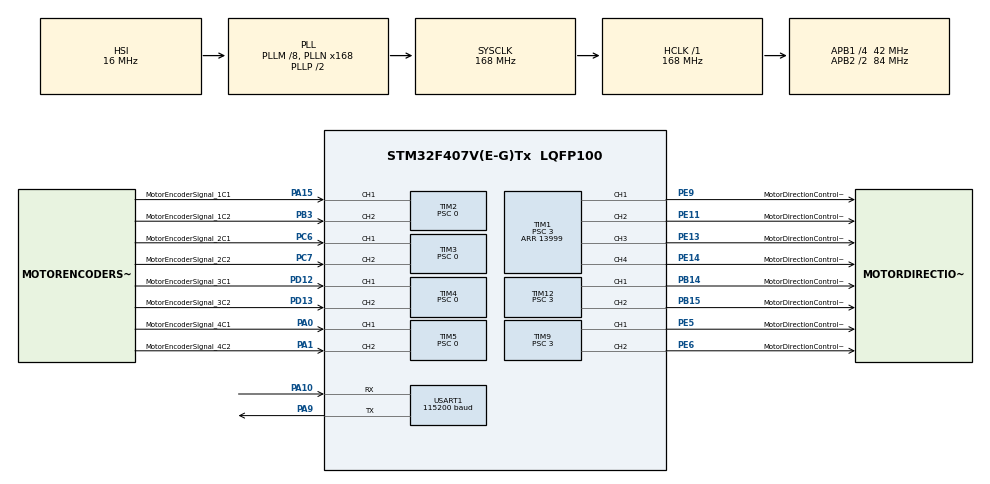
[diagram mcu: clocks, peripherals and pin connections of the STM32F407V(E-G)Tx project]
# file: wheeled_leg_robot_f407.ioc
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FREERTOS.Mutexes01=MotorPIDOutPulseMutex,Dynamic,NULL,Available;MotorStatusMutex,Dynamic,NULL,Available
FREERTOS.Tasks01=gpiotask,24,512,GPIO_Task,Default,NULL,Dynamic,NULL,NULL;MotorTask1,8,128,MotorSpeedTask,As external,&all_motors[0],Dynamic,NULL,NULL;MotorTask2,8,128,MotorSpeedTask,As external,&all_motors[1],Dynamic,NULL,NULL;MotorTask3,8,128,MotorSpeedTask,As external,&all_motors[2],Dynamic,NULL,NULL;MotorTask4,8,128,MotorSpeedTask,As external,&all_motors[3],Dynamic,NULL,NULL;Motor_PID_Task,8,128,Motor_PID_TaskFunc,As external,NULL,Dynamic,NULL,NULL
FREERTOS.configTOTAL_HEAP_SIZE=32768
Mcu.Family=STM32F4
Mcu.Name=STM32F407V(E-G)Tx
Mcu.Package=LQFP100
NVIC.PriorityGroup=NVIC_PRIORITYGROUP_4
NVIC.TIM8_TRG_COM_TIM14_IRQn=true\:15\:0\:false\:false\:true\:false\:false\:true\:true
NVIC.TimeBase=TIM8_TRG_COM_TIM14_IRQn
NVIC.TimeBaseIP=TIM14
NVIC.USART1_IRQn=true\:5\:0\:true\:false\:true\:true\:true\:true\:true
PA0-WKUP.GPIO_Label=MotorEncoderSignal_4C1
PA0-WKUP.GPIO_Speed=GPIO_SPEED_FREQ_VERY_HIGH
PA0-WKUP.Signal=S_TIM5_CH1
PA1.GPIO_Label=MotorEncoderSignal_4C2
PA1.GPIO_Speed=GPIO_SPEED_FREQ_VERY_HIGH
PA1.Signal=S_TIM5_CH2
PA10.GPIO_Speed=GPIO_SPEED_FREQ_VERY_HIGH
PA10.Mode=Asynchronous
PA10.Signal=USART1_RX
PA13.Mode=Serial_Wire
PA13.Signal=SYS_JTMS-SWDIO
PA14.Mode=Serial_Wire
PA14.Signal=SYS_JTCK-SWCLK
PA15.GPIO_Label=MotorEncoderSignal_1C1
PA15.GPIO_Speed=GPIO_SPEED_FREQ_VERY_HIGH
PA15.Signal=S_TIM2_CH1_ETR
PA9.GPIO_Speed=GPIO_SPEED_FREQ_VERY_HIGH
PA9.Mode=Asynchronous
PA9.Signal=USART1_TX
PB14.GPIO_Label=MotorDirectionControl_IO3_2
PB14.GPIO_Speed=GPIO_SPEED_FREQ_LOW
PB14.Signal=S_TIM12_CH1
PB15.GPIO_Label=MotorDirectionControl_IO4_2
PB15.GPIO_Speed=GPIO_SPEED_FREQ_LOW
PB15.Signal=S_TIM12_CH2
PB3.GPIO_Label=MotorEncoderSignal_1C2
PB3.GPIO_Speed=GPIO_SPEED_FREQ_VERY_HIGH
PB3.Signal=S_TIM2_CH2
PC6.GPIO_Label=MotorEncoderSignal_2C1
PC6.GPIO_Speed=GPIO_SPEED_FREQ_VERY_HIGH
PC6.Signal=S_TIM3_CH1
PC7.GPIO_Label=MotorEncoderSignal_2C2
PC7.GPIO_Speed=GPIO_SPEED_FREQ_VERY_HIGH
PC7.Signal=S_TIM3_CH2
PD12.GPIO_Label=MotorEncoderSignal_3C1
PD12.GPIO_Speed=GPIO_SPEED_FREQ_VERY_HIGH
PD12.Signal=S_TIM4_CH1
PD13.GPIO_Label=MotorEncoderSignal_3C2
PD13.GPIO_Speed=GPIO_SPEED_FREQ_VERY_HIGH
PD13.Signal=S_TIM4_CH2
PE11.GPIO_Label=MotorDirectionControl_IO2_1
PE11.GPIO_Speed=GPIO_SPEED_FREQ_LOW
PE11.Signal=S_TIM1_CH2
PE13.GPIO_Label=MotorDirectionControl_IO3_1
PE13.GPIO_Speed=GPIO_SPEED_FREQ_LOW
PE13.Signal=S_TIM1_CH3
PE14.GPIO_Label=MotorDirectionControl_IO4_1
PE14.GPIO_Speed=GPIO_SPEED_FREQ_LOW
PE14.Signal=S_TIM1_CH4
PE5.GPIO_Label=MotorDirectionControl_IO1_2
PE5.GPIO_Speed=GPIO_SPEED_FREQ_LOW
PE5.Signal=S_TIM9_CH1
PE6.GPIO_Label=MotorDirectionControl_IO2_2
PE6.GPIO_Speed=GPIO_SPEED_FREQ_LOW
PE6.Signal=S_TIM9_CH2
PE9.GPIO_Label=MotorDirectionControl_IO1_1
PE9.GPIO_Speed=GPIO_SPEED_FREQ_LOW
PE9.Signal=S_TIM1_CH1
PH0-OSC_IN.Mode=HSE-External-Oscillator
PH0-OSC_IN.Signal=RCC_OSC_IN
PH1-OSC_OUT.Mode=HSE-External-Oscillator
PH1-OSC_OUT.Signal=RCC_OSC_OUT
ProjectManager.HeapSize=0x200
ProjectManager.StackSize=0x400
ProjectManager.TargetToolchain=MDK-ARM V5
RCC.48MHZClocksFreq_Value=84000000
RCC.AHBFreq_Value=168000000
RCC.APB1CLKDivider=RCC_HCLK_DIV4
RCC.APB1Freq_Value=42000000
RCC.APB1TimFreq_Value=84000000
RCC.APB2CLKDivider=RCC_HCLK_DIV2
RCC.APB2Freq_Value=84000000
RCC.APB2TimFreq_Value=168000000
RCC.CortexFreq_Value=168000000
RCC.HCLKFreq_Value=168000000
RCC.HSE_VALUE=25000000
RCC.HSI_VALUE=16000000
RCC.LSE_VALUE=32768
RCC.PLLM=8
RCC.PLLN=168
RCC.SYSCLKFreq_VALUE=168000000
RCC.SYSCLKSource=RCC_SYSCLKSOURCE_PLLCLK
RCC.VCOOutputFreq_Value=336000000
SH.S_TIM12_CH1.0=TIM12_CH1,PWM Generation1 CH1
SH.S_TIM12_CH2.0=TIM12_CH2,PWM Generation2 CH2
SH.S_TIM1_CH1.0=TIM1_CH1,PWM Generation1 CH1
SH.S_TIM1_CH2.0=TIM1_CH2,PWM Generation2 CH2
SH.S_TIM1_CH3.0=TIM1_CH3,PWM Generation3 CH3
SH.S_TIM1_CH4.0=TIM1_CH4,PWM Generation4 CH4
SH.S_TIM2_CH1_ETR.0=TIM2_CH1,Encoder_Interface
SH.S_TIM2_CH2.0=TIM2_CH2,Encoder_Interface
SH.S_TIM3_CH1.0=TIM3_CH1,Encoder_Interface
SH.S_TIM3_CH2.0=TIM3_CH2,Encoder_Interface
SH.S_TIM4_CH1.0=TIM4_CH1,Encoder_Interface
SH.S_TIM4_CH2.0=TIM4_CH2,Encoder_Interface
SH.S_TIM5_CH1.0=TIM5_CH1,Encoder_Interface
SH.S_TIM5_CH2.0=TIM5_CH2,Encoder_Interface
SH.S_TIM9_CH1.0=TIM9_CH1,PWM Generation1 CH1
SH.S_TIM9_CH2.0=TIM9_CH2,PWM Generation2 CH2
TIM1.Channel-PWM\ Generation1\ CH1=TIM_CHANNEL_1
TIM1.Channel-PWM\ Generation2\ CH2=TIM_CHANNEL_2
TIM1.Channel-PWM\ Generation3\ CH3=TIM_CHANNEL_3
TIM1.Channel-PWM\ Generation4\ CH4=TIM_CHANNEL_4
TIM1.Period=13999
TIM1.Prescaler=3
TIM2.EncoderMode=TIM_ENCODERMODE_TI12
TIM2.Period=65535
TIM2.Prescaler=0
TIM3.EncoderMode=TIM_ENCODERMODE_TI12
TIM3.Period=65535
TIM3.Prescaler=0
TIM4.EncoderMode=TIM_ENCODERMODE_TI12
TIM4.Period=65535
TIM4.Prescaler=0
TIM5.EncoderMode=TIM_ENCODERMODE_TI12
TIM5.Period=65535
TIM5.Prescaler=0
TIM9.Channel-PWM\ Generation1\ CH1=TIM_CHANNEL_1
TIM9.Channel-PWM\ Generation2\ CH2=TIM_CHANNEL_2
TIM9.Period=13999
TIM9.Prescaler=3
TIM12.Channel-PWM\ Generation1\ CH1=TIM_CHANNEL_1
TIM12.Channel-PWM\ Generation2\ CH2=TIM_CHANNEL_2
TIM12.Period=13999
TIM12.Prescaler=3
USART1.BaudRate=115200
USART1.Parity=PARITY_NONE
USART1.VirtualMode=VM_ASYNC
USART1.WordLength=WORDLENGTH_8B
VP_FREERTOS_VS_CMSIS_V2.Mode=CMSIS_V2
VP_SYS_VS_tim14.Mode=TIM14
board=custom

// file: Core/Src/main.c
/* USER CODE BEGIN Header */
/**
  ******************************************************************************
  * @file           : main.c
  * @brief          : Main program body
  ******************************************************************************
  * @attention
  *
  * Copyright (c) 2026 STMicroelectronics.
  * All rights reserved.
  *
  * This software is licensed under terms that can be found in the LICENSE file
  * in the root directory of this software component.
  * If no LICENSE file comes with this software, it is provided AS-IS.
  *
  ******************************************************************************
  */
/* USER CODE END Header */
#include "main.h"
#include "cmsis_os.h"
#include "tim.h"
#include "usart.h"
#include "gpio.h"

/* USER CODE BEGIN Includes */
#include <string.h>
#include "chassis_mode.h"
#include "chassis_protocol.h"
/* USER CODE END Includes */

void SystemClock_Config(void);
void MX_FREERTOS_Init(void);

int main(void)
{
  HAL_Init();
  SystemClock_Config();

  MX_USART1_UART_Init();
  MX_GPIO_Init();
  MX_TIM1_Init();
  MX_TIM2_Init();
  MX_TIM3_Init();
  MX_TIM4_Init();
  MX_TIM5_Init();
  MX_TIM9_Init();
  MX_TIM12_Init();

  /* USER CODE BEGIN 2 */
  HAL_TIM_Encoder_Start(&htim2, TIM_CHANNEL_ALL);
  HAL_TIM_Encoder_Start(&htim3, TIM_CHANNEL_ALL);
  HAL_TIM_Encoder_Start(&htim4, TIM_CHANNEL_ALL);
  HAL_TIM_Encoder_Start(&htim5, TIM_CHANNEL_ALL);
  chassis_mode_init();
  chassis_protocol_init(&huart1);
  USART1_StartRx();
  /* USER CODE END 2 */

  osKernelInitialize();
  MX_FREERTOS_Init();
  osKernelStart();

  while (1)
  {
  }
}

void SystemClock_Config(void)
{
  RCC_OscInitTypeDef RCC_OscInitStruct = {0};
  RCC_ClkInitTypeDef RCC_ClkInitStruct = {0};

  __HAL_RCC_PWR_CLK_ENABLE();
  __HAL_PWR_VOLTAGESCALING_CONFIG(PWR_REGULATOR_VOLTAGE_SCALE1);

  RCC_OscInitStruct.OscillatorType = RCC_OSCILLATORTYPE_HSI;
  RCC_OscInitStruct.HSIState = RCC_HSI_ON;
  RCC_OscInitStruct.HSICalibrationValue = RCC_HSICALIBRATION_DEFAULT;
  RCC_OscInitStruct.PLL.PLLState = RCC_PLL_ON;
  RCC_OscInitStruct.PLL.PLLSource = RCC_PLLSOURCE_HSI;
  RCC_OscInitStruct.PLL.PLLM = 8;
  RCC_OscInitStruct.PLL.PLLN = 168;
  RCC_OscInitStruct.PLL.PLLP = RCC_PLLP_DIV2;
  RCC_OscInitStruct.PLL.PLLQ = 4;
  if (HAL_RCC_OscConfig(&RCC_OscInitStruct) != HAL_OK)
  {
    Error_Handler();
  }

  RCC_ClkInitStruct.ClockType = RCC_CLOCKTYPE_HCLK|RCC_CLOCKTYPE_SYSCLK
                              |RCC_CLOCKTYPE_PCLK1|RCC_CLOCKTYPE_PCLK2;
  RCC_ClkInitStruct.SYSCLKSource = RCC_SYSCLKSOURCE_PLLCLK;
  RCC_ClkInitStruct.AHBCLKDivider = RCC_SYSCLK_DIV1;
  RCC_ClkInitStruct.APB1CLKDivider = RCC_HCLK_DIV4;
  RCC_ClkInitStruct.APB2CLKDivider = RCC_HCLK_DIV2;

  if (HAL_RCC_ClockConfig(&RCC_ClkInitStruct, FLASH_LATENCY_5) != HAL_OK)
  {
    Error_Handler();
  }
}

void Error_Handler(void)
{
  /* USER CODE BEGIN Error_Handler_Debug */
  const char error_msg[] = "Error_Handler: System Error Occurred!\r\n";
  if (huart1.Instance == USART1)
  {
    HAL_UART_Transmit(&huart1, (uint8_t *)error_msg, strlen(error_msg), 0xFFFF);
  }

  __disable_irq();
  while (1)
  {
  }
  /* USER CODE END Error_Handler_Debug */
}

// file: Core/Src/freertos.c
/* USER CODE BEGIN Header */
/**
  ******************************************************************************
  * File Name          : freertos.c
  * Description        : Code for freertos applications
  ******************************************************************************
  */
/* USER CODE END Header */

#include "FreeRTOS.h"
#include "task.h"
#include "main.h"
#include "cmsis_os.h"

/* USER CODE BEGIN Includes */
#include "chassis_mode.h"
#include "chassis_feedback.h"
#include "chassis_odometry.h"
#include "chassis_protocol.h"
#include "runtime_tune.h"
#include "motor_control.h"
#include "motor_feedback.h"
#include "motor_driver.h"
/* USER CODE END Includes */

/* Definitions for MotorStatusMutex */
osMutexId_t MotorStatusMutexHandle;
const osMutexAttr_t MotorStatusMutex_attributes = {
  .name = "MotorStatusMutex"
};

/* Definitions for chassis control task */
osThreadId_t ChassisControlTaskHandle;
const osThreadAttr_t ChassisControlTask_attributes = {
  .name = "ChassisControlTask",
  .stack_size = 768 * 4,
  .priority = (osPriority_t) osPriorityNormal,
};

static void ChassisControlTask(void *argument);
void MX_FREERTOS_Init(void);

/* USER CODE BEGIN 0 */
static void motor_driver_apply_signed_output(uint8_t motor_id, float command)
{
  MotorDirection_t direction;
  float duty_norm;

  if (command > 0.0001f) {
    direction = MOTOR_DIRECTION_FORWARD;
    duty_norm = command;
  } else if (command < -0.0001f) {
    direction = MOTOR_DIRECTION_REVERSE;
    duty_norm = -command;
  } else {
    direction = MOTOR_DIRECTION_STOP;
    duty_norm = 0.0f;
  }

  MotorDriver_SetOutput(motor_id, direction, duty_norm);
}
/* USER CODE END 0 */

void MX_FREERTOS_Init(void)
{
  /* USER CODE BEGIN Init */
  MotorStatusMutexHandle = osMutexNew(&MotorStatusMutex_attributes);
  /* USER CODE END Init */

  /* Create the thread(s) */
  ChassisControlTaskHandle = osThreadNew(ChassisControlTask, NULL, &ChassisControlTask_attributes);

}

static void ChassisControlTask(void *argument)
{
  (void)argument;
  chassis_cmd_t cmd;
  float motor_output[MOTOR_COUNT];
  Motor_Status_t motor_status[MOTOR_COUNT];
  uint32_t feedback_elapsed_ms = 0U;
  uint32_t pid_elapsed_ms = 0U;
  uint32_t report_elapsed_ms = 0U;
  uint8_t motor_id;

  chassis_odometry_init();

  for (motor_id = 0U; motor_id < MOTOR_COUNT; ++motor_id) {
    MotorFeedback_Reset(motor_id);
  }

  for (;;) {
    while (chassis_protocol_poll(&cmd)) {
      (void)chassis_mode_apply_cmd(&cmd);
    }

    chassis_mode_watchdog_update();

    ++feedback_elapsed_ms;
    ++pid_elapsed_ms;
    ++report_elapsed_ms;

    if (feedback_elapsed_ms >= MOTOR_SPEED_SAMPLE_TIME_MS) {
      const chassis_profile_t *profile;

      feedback_elapsed_ms = 0U;
      for (motor_id = 0U; motor_id < MOTOR_COUNT; ++motor_id) {
        MotorFeedback_Sample(motor_id);
        motor_status[motor_id] = MotorFeedback_GetStatus(motor_id);
      }

      profile = runtime_tune_get_active_profile();
      (void)chassis_odometry_update(profile, motor_status, MOTOR_SPEED_SAMPLE_PERIOD_S);
    }

    if (pid_elapsed_ms >= MOTOR_PID_CONTROL_PERIOD_MS) {
      pid_elapsed_ms = 0U;
      if (!chassis_mode_raw_pwm_active()) {
        MotorControlCore_Compute(motor_output);
        for (motor_id = 0U; motor_id < MOTOR_COUNT; ++motor_id) {
          motor_driver_apply_signed_output(motor_id, motor_output[motor_id]);
        }
      }
    }

    if (report_elapsed_ms >= 100U) {
      report_elapsed_ms = 0U;
      chassis_feedback_report();
    }

    osDelay(1);
  }
}
